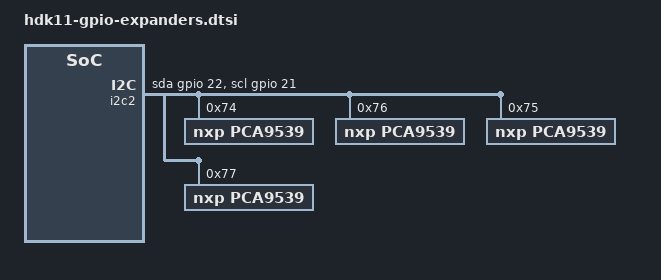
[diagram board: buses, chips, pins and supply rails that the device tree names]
#include <dt-bindings/gpio/gpio.h>

&i2c2 {
	pinctrl-names = "default", "gpio";
	pinctrl-0 = <&i2c2_pins>;
	pinctrl-1 = <&i2c2_gpio_pins>;
	scl-gpios = <&gpio 21 (GPIO_ACTIVE_HIGH | GPIO_OPEN_DRAIN)>;
	sda-gpios = <&gpio 22 (GPIO_ACTIVE_HIGH | GPIO_OPEN_DRAIN)>;
	status = "okay";
	/* GPIO expanders */
	pca9539@74 {
			compatible = "nxp,pca9539";
			reg = <0x74>;
			pinctrl-names = "default";
			gpio-controller;
			#gpio-cells = <0x02>;

			CAM1_EN {
				gpio-hog;
				gpios = <0 GPIO_ACTIVE_HIGH>;
			        output-low;
			        line-name = "CAM1_EN";
			};

			CAM2_EN {
				gpio-hog;
				gpios = <1 GPIO_ACTIVE_HIGH>;
			        output-low;
			        line-name = "CAM2_EN";
			};

			CAM3_EN {
				gpio-hog;
				gpios = <2 GPIO_ACTIVE_HIGH>;
				output-low;
			};

			CAM4_EN {
				gpio-hog;
				gpios = <3 GPIO_ACTIVE_HIGH>;
				output-low;
			};

			CAM5_EN {
				gpio-hog;
				gpios = <4 GPIO_ACTIVE_HIGH>;
				output-low;
			};

			CAM6_EN {
				gpio-hog;
				gpios = <5 GPIO_ACTIVE_HIGH>;
				output-low;
			};

			CAM7_EN {
				gpio-hog;
				gpios = <6 GPIO_ACTIVE_HIGH>;
				output-low;
			};

			CAM8_EN {
				gpio-hog;
				gpios = <7 GPIO_ACTIVE_HIGH>;
				output-low;
			};

			CAM9_EN {
				gpio-hog;
				gpios = <8 GPIO_ACTIVE_HIGH>;
				output-low;
			};

			CAM10_EN {
				gpio-hog;
				gpios = <9 GPIO_ACTIVE_HIGH>;
				output-low;
			};

			THER_EXP_HSSW {
				gpio-hog;
				gpios = <10 GPIO_ACTIVE_HIGH>;
				output-low;
			};

			I_SEH_EXP_HSSW {
				gpio-hog;
				gpios = <11 GPIO_ACTIVE_HIGH>;
				output-low;
			};

			I_SEL_EXP_HSSW {
				gpio-hog;
				gpios = <12 GPIO_ACTIVE_HIGH>;
				output-low;
			};

			DIAG_EN_EXP_HSSW1 {
				gpio-hog;
				gpios = <13 GPIO_ACTIVE_HIGH>;
				output-low;
			};

			DIAG_EN_EXP_HSSW2 {
				gpio-hog;
				gpios = <14 GPIO_ACTIVE_HIGH>;
				output-low;
			};

			DIAG_EN_EXP_HSSW3 {
				gpio-hog;
				gpios = <15 GPIO_ACTIVE_HIGH>;
				output-low;
			};
		};

		pca9539@76 {
			compatible = "nxp,pca9539";
			reg = <0x76>;
			gpio-controller;
			#gpio-cells = <0x02>;
			pinctrl-names = "default";

			EN_SMH_SI_3V3_SMPS_SYS {
				gpio-hog;
				gpios = <0 GPIO_ACTIVE_HIGH>;
				output-high;
				line-name = "EN_SMH_SI_3V3_SMPS_SYS";
			};

			EN_SMH_SI_1V8_SMPS_SYS {
				gpio-hog;
				gpios = <1 GPIO_ACTIVE_HIGH>;
				output-high;
			};

			EN_SMH_SI_1V2_SMPS_SYS {
				gpio-hog;
				gpios = <2 GPIO_ACTIVE_HIGH>;
				output-high;
			};

			EN_SMH_SI_1V1_SMPS_SYS {
				gpio-hog;
				gpios = <3 GPIO_ACTIVE_HIGH>;
				output-high;
			};

			EN_SMH_SI_0V9_SMPS_A_SYS {
				gpio-hog;
				gpios = <4 GPIO_ACTIVE_HIGH>;
				output-high;
			};

			EN_SMH_SI_0V9_SMPS_B_SYS {
				gpio-hog;
				gpios = <5 GPIO_ACTIVE_HIGH>;
				output-high;
			};

			EN_SMH_P_0V8_SMPS_AB {
				gpio-hog;
				gpios = <6 GPIO_ACTIVE_HIGH>;
				output-high;
			};

			EN_SMH_SI_CAN_FAS {
				gpio-hog;
				gpios = <7 GPIO_ACTIVE_HIGH>;
				output-high;
			};

			PG_3V3_SMPS_SYS_SMH_SI {
				gpio-hog;
				gpios = <8 GPIO_ACTIVE_HIGH>;
				input;
			};

			PG_1V8_SMPS_SYS_SMH_SI {
				gpio-hog;
				gpios = <9 GPIO_ACTIVE_HIGH>;
				input;
			};

			PG_1V2_SMPS_SYS_SMH_SI {
				gpio-hog;
				gpios = <10 GPIO_ACTIVE_HIGH>;
				input;
			};

			PG_1V1_SMPS_SYS_SMH_SI {
				gpio-hog;
				gpios = <11 GPIO_ACTIVE_HIGH>;
				input;
			};

			PG_0V9_SMPS_A_SYS_SMH_SI {
				gpio-hog;
				gpios = <12 GPIO_ACTIVE_HIGH>;
				input;
			};

			PG_0V9_SMPS_B_SYS_SMH_SI {
				gpio-hog;
				gpios = <13 GPIO_ACTIVE_HIGH>;
				input;
			};

			PG_0V8_SMPS_A_SMH_P {
				gpio-hog;
				gpios = <14 GPIO_ACTIVE_HIGH>;
				input;
			};

			PG_0V8_SMPS_B_SMH_P {
				gpio-hog;
				gpios = <15 GPIO_ACTIVE_HIGH>;
				input;
			};
		};

		pca9539@75 {
			compatible = "nxp,pca9539";
			reg = <0x75>;
			pinctrl-names = "default";
			gpio-controller;
			#gpio-cells = <0x02>;

			EN_SMH_P_PREREG_SMPS_IPM {
				gpio-hog;
				gpios = <0 GPIO_ACTIVE_HIGH>;
				output-high;
			};

			EN_SMH_P_5V0_SMPS_IPM {
				gpio-hog;
				gpios = <1 GPIO_ACTIVE_HIGH>;
				output-high;
			};

			EN_SMH_SI_CAN_C {
				gpio-hog;
				gpios = <2 GPIO_ACTIVE_HIGH>;
				output-high;
			};

			EN_SMH_P_PUMP_SMPS {
				gpio-hog;
				gpios = <3 GPIO_ACTIVE_HIGH>;
				output-high;
			};

			N_STB_SMH_SI_CAN_FAS {
				gpio-hog;
				gpios = <4 GPIO_ACTIVE_HIGH>;
				output-high;
			};

			N_RESET_SMH_P_CLK2 {
				gpio-hog;
				gpios = <5 GPIO_ACTIVE_HIGH>;
				output-high;
			};

			N_RESET_SMH_P_CLK1 {
				gpio-hog;
				gpios = <6 GPIO_ACTIVE_HIGH>;
				output-high;
			};

			N_RSTB_SMH_P_PCIE_SW {
				gpio-hog;
				gpios = <7 GPIO_ACTIVE_HIGH>;
				output-high;
			};

			PG_PREREG_SMPS_IPM_SMH_P {
				gpio-hog;
				gpios = <8 GPIO_ACTIVE_HIGH>;
				input;
			};

			PG_5V0_SMPS_IPM_SMH_P {
				gpio-hog;
				gpios = <9 GPIO_ACTIVE_HIGH>;
				input;
			};

			PG_PREREG_SMPS_FPM_SMH_P {
				gpio-hog;
				gpios = <10 GPIO_ACTIVE_HIGH>;
				input;
			};

			PG_5V0_SMPS_FPM_SMH_P {
				gpio-hog;
				gpios = <11 GPIO_ACTIVE_HIGH>;
				input;
			};

			PG_BUCK_BOOST {
				gpio-hog;
				gpios = <12 GPIO_ACTIVE_HIGH>;
				input;
			};

			PG_5V0_SMPS_SYS_SMH_SI {
				gpio-hog;
				gpios = <13 GPIO_ACTIVE_HIGH>;
				input;
			};
		};

		pca9539@77 {
			compatible = "nxp,pca9539";
			reg = <0x77>;
			pinctrl-names = "default";
			gpio-controller;
			#gpio-cells = <0x02>;

			ALERT_TEMP_1_SMH_P {
				gpio-hog;
				gpios = <0 GPIO_ACTIVE_HIGH>;
				input;
			};

			ALERT_TEMP_2_SMH_P {
				gpio-hog;
				gpios = <1 GPIO_ACTIVE_HIGH>;
				input;
			};

			ALERT_TEMP_3_SMH_P {
				gpio-hog;
				gpios = <2 GPIO_ACTIVE_HIGH>;
				input;
			};

			GPI2_SOM2_MMH_SMH {
				gpio-hog;
				gpios = <5 GPIO_ACTIVE_HIGH>;
				input;
		        };
		        N_RESET_SMH_P_ETH_SW1 {
				gpio-hog;
				gpios = <12 GPIO_ACTIVE_HIGH>;
				output-high;
		        };
		        N_RESET_SMH_P_ETH_SW2 {
				gpio-hog;
				gpios = <13 GPIO_ACTIVE_HIGH>;
				output-high;
			};
		};
};
